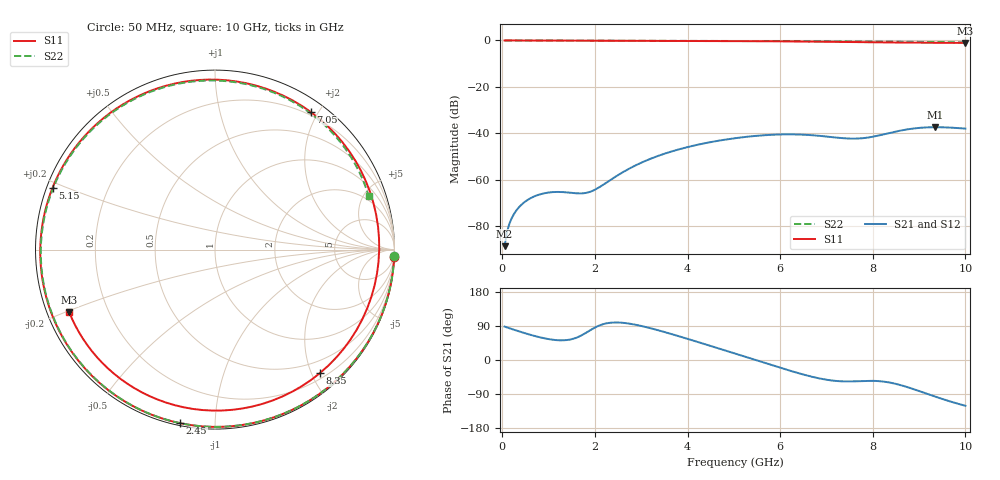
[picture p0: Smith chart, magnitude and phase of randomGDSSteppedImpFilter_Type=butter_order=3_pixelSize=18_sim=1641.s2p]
! freq	dB(S11)	phase(S11)	dB(S12)	phase(S12)
!  dB(S21)	phase(S21)	dB(S22)	phase(S22)
!S-par simulation data
#  GHz  S  DB  R 50
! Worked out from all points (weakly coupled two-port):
!   200 points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, 50 MHz to 10 GHz, reference 50 ohm
!   highest |S21| = -37.42 dB at 9.35 GHz (marker M1); lowest = -88.7 dB at 50 MHz (marker M2)
!   lowest |S11| = -1.1 dB at 10 GHz (marker M3), VSWR 16.25, Z = 3.21 - j10.2 ohm
!   |S11| at or under -10 dB: nowhere
!   |S22| runs from -0.8 to 0.0 dB; largest |S21 - S12| = 0
!   S11 on the Smith chart (normalised r, x): 50 MHz: 1, -51; 2.45 GHz: 0.01, -0.82; 5.15 GHz: 0.02, +0.18; 7.05 GHz: 0.16, +1.90; 8.35 GHz: 0.29, -2.13; 10 GHz: 0.06, -0.20
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0.05  -0.00 -2.3  -88.74 88.1  -88.74 88.1  -0.01 -1.9
0.15  -0.01 -6.7  -79.25 84.0  -79.25 84.0  -0.01 -5.6
0.4  -0.02 -17.7  -71.12 74.1  -71.12 74.1  -0.02 -15.0
0.7  -0.03 -30.8  -67.20 63.3  -67.20 63.3  -0.03 -26.1
1.1  -0.06 -47.9  -65.41 53.3  -65.41 53.3  -0.05 -40.6
1.75  -0.09 -74.4  -65.92 67.6  -65.92 67.6  -0.08 -63.3
2.45  -0.12 -101.4  -58.70 99.1  -58.70 99.1  -0.10 -86.4
3.4  -0.16 -135.8  -49.55 77.4  -49.55 77.4  -0.14 -115.4
4.25  -0.21 -166.2  -44.85 46.5  -44.85 46.5  -0.18 -139.6
5.05  -0.27 163.2  -42.11 16.1  -42.11 16.1  -0.22 -161.7
5.15  -0.28 159.1  -41.86 12.3  -41.86 12.3  -0.22 -164.5
5.9  -0.36 125.2  -40.62 -16.5  -40.62 -16.5  -0.27 174.7
6.35  -0.44 101.0  -40.54 -33.2  -40.54 -33.2  -0.31 161.8
6.7  -0.51 79.4  -40.89 -44.6  -40.89 -44.6  -0.34 151.5
7.05  -0.59 55.2  -41.55 -53.0  -41.55 -53.0  -0.37 140.8
7.4  -0.68 28.4  -42.22 -56.5  -42.22 -56.5  -0.40 129.6
7.7  -0.76 3.9  -42.29 -55.8  -42.29 -55.8  -0.43 119.5
8  -0.83 -21.1  -41.53 -55.0  -41.53 -55.0  -0.46 109.0
8.35  -0.89 -49.7  -39.97 -59.2  -39.97 -59.2  -0.50 95.9
8.8  -0.94 -83.9  -38.19 -73.6  -38.19 -73.6  -0.56 77.8
9.35  -0.98 -120.3  -37.42 -96.7  -37.42 -96.7  -0.66 53.0
10  -1.07 -156.8  -38.03 -120.8  -38.03 -120.8  -0.85 19.3
